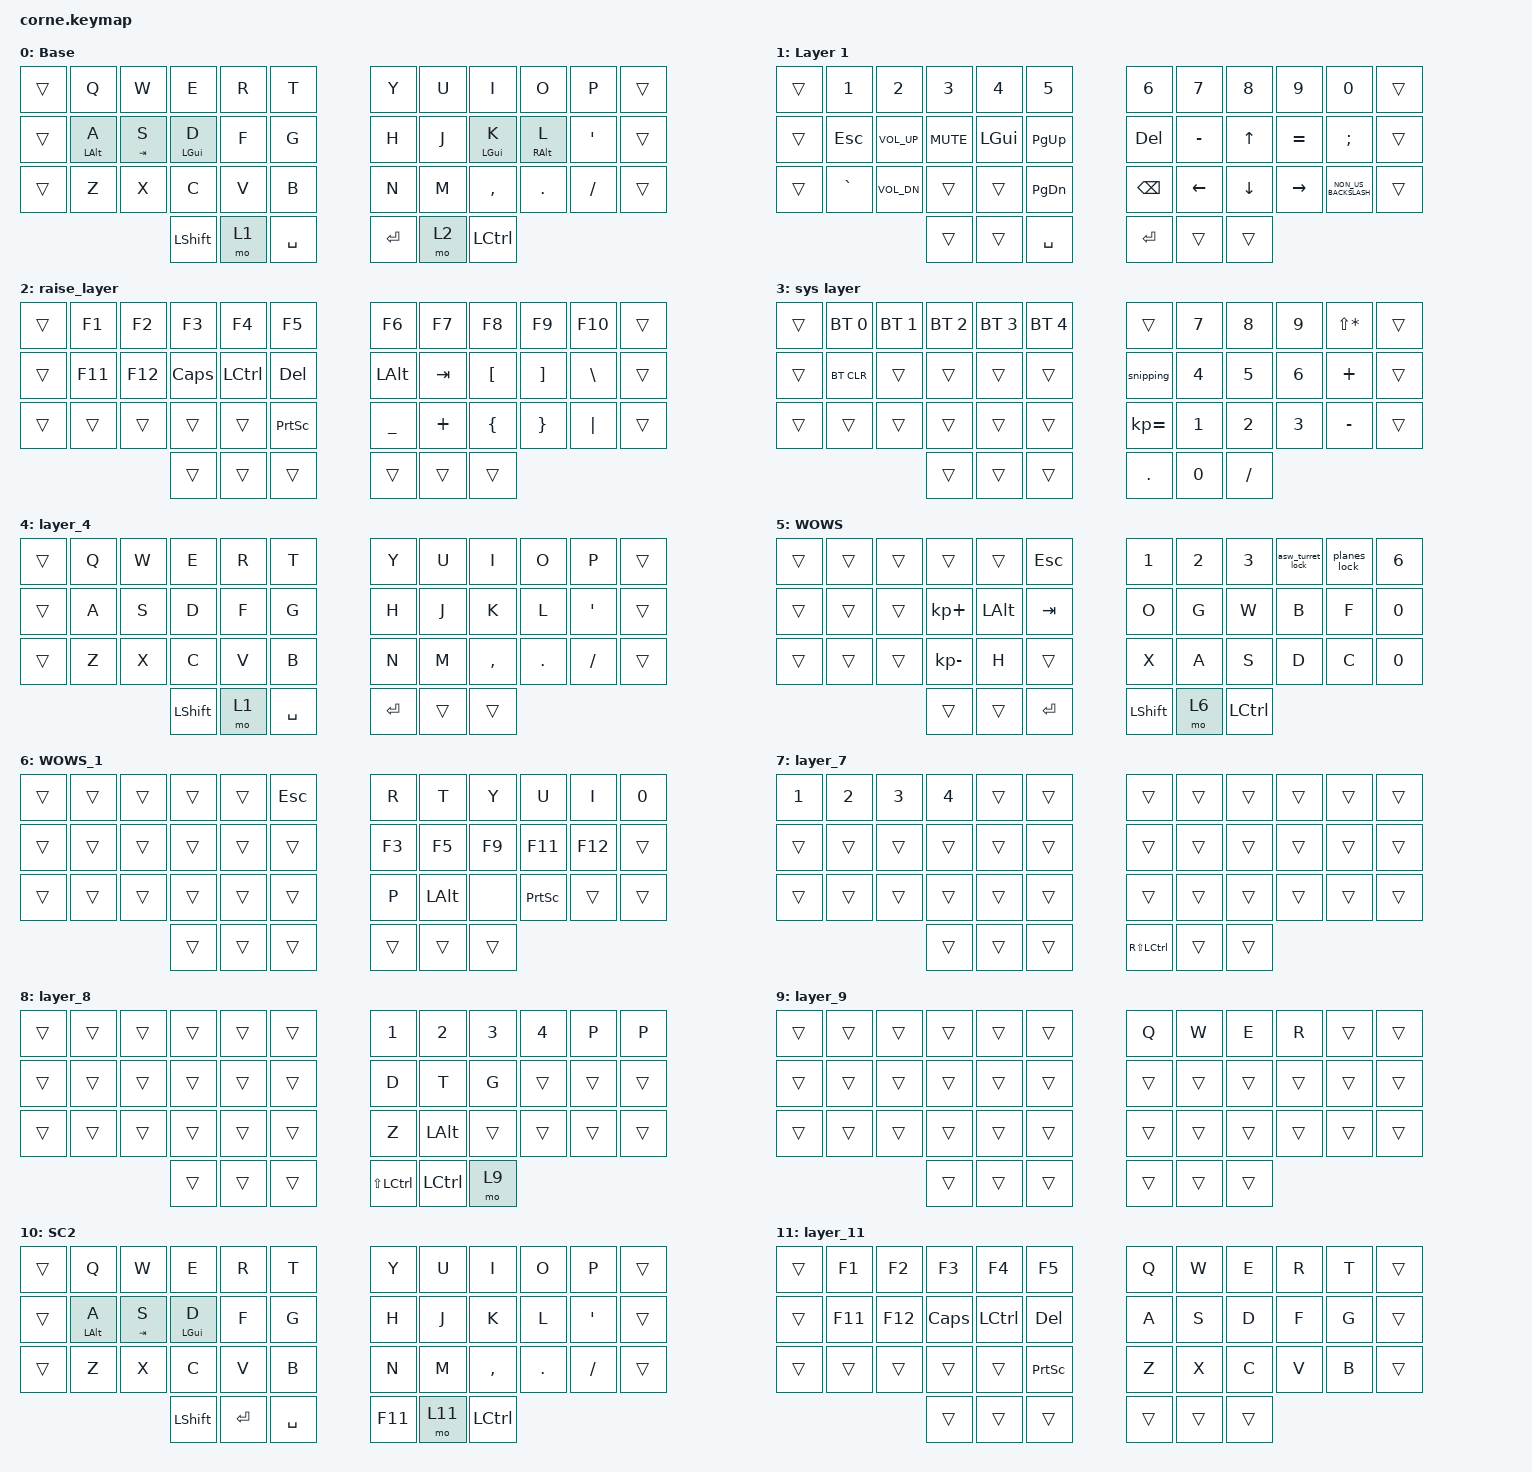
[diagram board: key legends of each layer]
/*
 * Copyright (c) 2020 The ZMK Contributors
 *
 * SPDX-License-Identifier: MIT
 */

#include <behaviors.dtsi>
#include <dt-bindings/zmk/bt.h>
#include <dt-bindings/zmk/keys.h>

/ {
    combos {
        compatible = "zmk,combos";

        jumpto0 {
            bindings = <&to 0>;
            key-positions = <29 25>;
        };

        nkey {
            bindings = <&kp N>;
            key-positions = <40 41>;
            layers = <5 6>;
        };

        layerjump {
            bindings = <&to 5>;
            key-positions = <30 34>;
        };

        btlayer {
            bindings = <&to 3>;
            key-positions = <1 13 25>;
        };

        new_combo {
            bindings = <&snipping>;
            key-positions = <7 9>;
            require-prior-idle-ms = <500>;
        };

        copy {
            bindings = <&copy>;
            key-positions = <30 31>;
            require-prior-idle-ms = <500>;
        };

        paste {
            bindings = <&paste>;
            key-positions = <31 33>;
            require-prior-idle-ms = <500>;
        };

        backspace {
            bindings = <&kp BACKSPACE>;
            key-positions = <18 19>;
            require-prior-idle-ms = <500>;
        };

        delete {
            bindings = <&kp DELETE>;
            key-positions = <6 7>;
            require-prior-idle-ms = <500>;
        };

        esc {
            bindings = <&kp ESCAPE>;
            key-positions = <10 22>;
            require-prior-idle-ms = <500>;
        };

        mute_google {
            bindings = <&cntr_D>;
            key-positions = <9 21 33>;
            require-prior-idle-ms = <500>;
        };

        redo {
            bindings = <&kp RC(Y)>;
            key-positions = <8 20>;
            require-prior-idle-ms = <500>;
        };

        chat_wows {
            bindings = <&layer4_enter>;
            key-positions = <36 37>;
            require-prior-idle-ms = <125>;
            layers = <5>;
        };

        task_man {
            bindings = <&kp LC(RS(ESCAPE))>;
            key-positions = <26 14 2>;
            require-prior-idle-ms = <500>;
        };

        undo {
            bindings = <&kp LC(Z)>;
            key-positions = <7 19>;
            require-prior-idle-ms = <500>;
        };

        back_from_chat {
            bindings = <&to 5>;
            key-positions = <40 41>;
            require-prior-idle-ms = <500>;
            layers = <4>;
        };

        win_right {
            bindings = <&kp LG(RIGHT)>;
            key-positions = <34 10>;
            require-prior-idle-ms = <500>;
        };

        win_left {
            bindings = <&kp LG(LEFT)>;
            key-positions = <33 9>;
            require-prior-idle-ms = <500>;
        };

        prnscrn_wows {
            bindings = <&kp PRINTSCREEN>;
            key-positions = <3 4>;
            require-prior-idle-ms = <500>;
            layers = <5>;
        };

        Maps {
            bindings = <&kp M>;
            key-positions = <10 22 34>;
            layers = <5 6>;
            require-prior-idle-ms = <5000>;
        };

        wows_streaming {
            bindings = <&kp LA(Z)>;
            key-positions = <3 15 27>;
            layers = <5>;
        };

        Right_alt {
            bindings = <&kp RIGHT_ALT>;
            key-positions = <40 41>;
            layers = <0 1 2 4>;
        };

        RA2 {
            bindings = <&to 8>;
            key-positions = <34 10 25 1>;
        };

        SC2 {
            bindings = <&to 10>;
            key-positions = <2 26 9 33>;
        };

        ShiftSC2 {
            bindings = <&kp LEFT_SHIFT>;
            key-positions = <40 41>;
            layers = <10 11>;
        };

        SC2_Alt {
            bindings = <&kp LEFT_ALT>;
            key-positions = <39 40>;
            layers = <10 11>;
        };
    };

    behaviors {
        hold_left: hold_left {
            compatible = "zmk,behavior-hold-tap";
            label = "HOLD_LEFT";
            bindings = <&kp>, <&kp>;

            #binding-cells = <2>;
            flavor = "balanced";
            tapping-term-ms = <280>;
            hold-trigger-on-release;
            quick-tap-ms = <500>;
            global-quick-tap;
            hold-trigger-key-positions = <6 7 8 9 10 11 18 19 20 21 22 23 30 31 32 33 34 35>;
        };

        hold_right: hold_right {
            compatible = "zmk,behavior-hold-tap";
            label = "HOLD_RIGHT";
            bindings = <&kp>, <&kp>;

            #binding-cells = <2>;
            tapping-term-ms = <280>;
            flavor = "balanced";
            hold-trigger-on-release;
            global-quick-tap;
            quick-tap-ms = <500>;
            hold-trigger-key-positions = <0 1 5 12 13 14 15 16 17 24 25 26 27 28 29 2 3 4>;
        };
    };

    macros {
        snipping: snipping {
            compatible = "zmk,behavior-macro";
            label = "SNIPPING";
            #binding-cells = <0>;
            bindings = <&kp RG(RS(S))>;
        };

        copy: copy {
            compatible = "zmk,behavior-macro";
            label = "COPY";
            #binding-cells = <0>;
            bindings = <&kp LC(C)>;
        };

        paste: paste {
            compatible = "zmk,behavior-macro";
            label = "PASTE";
            #binding-cells = <0>;
            bindings = <&kp LC(V)>;
        };

        cntr_D: cntr_D {
            compatible = "zmk,behavior-macro";
            label = "CNTR_D";
            #binding-cells = <0>;
            bindings = <&kp LC(D)>;
        };

        win_right: win_right {
            compatible = "zmk,behavior-macro";
            #binding-cells = <0>;
            bindings = <&kp RG(RIGHT)>;
            label = "WIN_RIGHT";
        };

        win_left: win_left {
            compatible = "zmk,behavior-macro";
            #binding-cells = <0>;
            bindings = <&none>;
            label = "WIN_LEFT";
        };

        layer4_enter: layer4_enter {
            compatible = "zmk,behavior-macro";
            #binding-cells = <0>;
            bindings = <&to 4 &kp ENTER>;
            label = "LAYER4_ENTER";
        };

        asw_turret_lock: asw_turret_lock {
            compatible = "zmk,behavior-macro";
            #binding-cells = <0>;
            bindings = <&kp NUMBER_4 &kp RC(X)>;
            label = "ASW_TURRET_LOCK";
        };

        planes_lock: planes_lock {
            compatible = "zmk,behavior-macro";
            #binding-cells = <0>;
            bindings = <&kp N5 &kp RC(X)>;
            label = "PLANES_LOCK";
        };
    };

    keymap {
        compatible = "zmk,keymap";

        default_layer {
            // -----------------------------------------------------------------------------------------
            // |  TAB |  Q  |  W  |  E  |  R  |  T  |   |  Y  |  U   |  I  |  O  |  P  | BKSP |
            // | CTRL |  A  |  S  |  D  |  F  |  G  |   |  H  |  J   |  K  |  L  |  ;  |  '   |
            // | SHFT |  Z  |  X  |  C  |  V  |  B  |   |  N  |  M   |  ,  |  .  |  /  | ESC  |
            //                    | GUI | LWR | SPC |   | ENT | RSE  | ALT |

            bindings = <
&trans  &kp Q                  &kp W             &kp E                  &kp R  &kp T        &kp Y    &kp U  &kp I                   &kp O                    &kp P     &trans
&trans  &hold_left LEFT_ALT A  &hold_left TAB S  &hold_left LEFT_GUI D  &kp F  &kp G        &kp H    &kp J  &hold_right LEFT_GUI K  &hold_right RIGHT_ALT L  &kp SQT   &trans
&trans  &kp Z                  &kp X             &kp C                  &kp V  &kp B        &kp N    &kp M  &kp COMMA               &kp DOT                  &kp FSLH  &trans
                                                 &kp LEFT_SHIFT         &mo 1  &kp SPACE    &kp RET  &mo 2  &kp LEFT_CONTROL
            >;

            label = "Base";
        };

        lower_layer {
            // -----------------------------------------------------------------------------------------
            // |  TAB |  1  |  2  |  3  |  4  |  5  |   |  6  |  7  |  8  |  9  |  0  | BKSP |
            // | BTCLR| BT1 | BT2 | BT3 | BT4 | BT5 |   | LFT | DWN |  UP | RGT |     |      |
            // | SHFT |     |     |     |     |     |   |     |     |     |     |     |      |
            //                    | GUI |     | SPC |   | ENT |     | ALT |

            bindings = <
&trans  &kp N1     &kp N2           &kp N3      &kp N4    &kp N5       &kp N6         &kp N7     &kp N8    &kp N9     &kp N0                &trans
&trans  &kp ESC    &kp C_VOLUME_UP  &kp C_MUTE  &kp LGUI  &kp PG_UP    &kp DELETE     &kp MINUS  &kp UP    &kp EQUAL  &kp SEMICOLON         &trans
&trans  &kp GRAVE  &kp C_VOL_DN     &trans      &trans    &kp PG_DN    &kp BACKSPACE  &kp LEFT   &kp DOWN  &kp RIGHT  &kp NON_US_BACKSLASH  &trans
                                    &trans      &trans    &kp SPACE    &kp RET        &trans     &trans
            >;

            label = "Layer 1";
        };

        raise_layer {
            // -----------------------------------------------------------------------------------------
            // |  TAB |  !  |  @  |  #  |  $  |  %  |   |  ^  |  &  |  *  |  (  |  )  | BKSP |
            // | CTRL |     |     |     |     |     |   |  -  |  =  |  [  |  ]  |  \  |  `   |
            // | SHFT |     |     |     |     |     |   |  _  |  +  |  {  |  }  | "|" |  ~   |
            //                    | GUI |     | SPC |   | ENT |     | ALT |

            bindings = <
&trans  &kp F1   &kp F2   &kp F3        &kp F4     &kp F5             &kp F6     &kp F7    &kp F8    &kp F9    &kp F10   &trans
&trans  &kp F11  &kp F12  &kp CAPSLOCK  &kp LCTRL  &kp DEL            &kp LALT   &kp TAB   &kp LBKT  &kp RBKT  &kp BSLH  &trans
&trans  &trans   &trans   &trans        &trans     &kp PRINTSCREEN    &kp UNDER  &kp PLUS  &kp LBRC  &kp RBRC  &kp PIPE  &trans
                          &trans        &trans     &trans             &trans     &trans    &trans
            >;
        };

        layer_3 {
            bindings = <
&trans  &bt BT_SEL 0  &bt BT_SEL 1  &bt BT_SEL 2  &bt BT_SEL 3  &bt BT_SEL 4    &trans        &kp N7  &kp N8    &kp N9  &kp LS(ASTERISK)  &trans
&trans  &bt BT_CLR    &trans        &trans        &trans        &trans          &snipping     &kp N4  &kp N5    &kp N6  &kp PLUS          &trans
&trans  &trans        &trans        &trans        &trans        &trans          &kp KP_EQUAL  &kp N1  &kp N2    &kp N3  &kp MINUS         &trans
                                    &trans        &trans        &trans          &kp PERIOD    &kp N0  &kp FSLH
            >;

            label = "sys layer";
        };

        layer_4 {
            bindings = <
&trans  &kp Q  &kp W  &kp E      &kp R  &kp T        &kp Y    &kp U   &kp I      &kp O    &kp P      &trans
&trans  &kp A  &kp S  &kp D      &kp F  &kp G        &kp H    &kp J   &kp K      &kp L    &kp SQT    &trans
&trans  &kp Z  &kp X  &kp C      &kp V  &kp B        &kp N    &kp M   &kp COMMA  &kp DOT  &kp SLASH  &trans
                      &kp LSHFT  &mo 1  &kp SPACE    &kp RET  &trans  &trans
            >;
        };

        layer_5 {
            bindings = <
&trans  &trans  &trans  &trans        &trans        &kp ESCAPE    &kp NUMBER_1  &kp NUMBER_2  &kp NUMBER_3      &asw_turret_lock  &planes_lock  &kp NUMBER_6
&trans  &trans  &trans  &kp KP_PLUS   &kp LEFT_ALT  &kp TAB       &kp O         &kp G         &kp W             &kp B             &kp F         &kp 0
&trans  &trans  &trans  &kp KP_MINUS  &kp H         &trans        &kp X         &kp A         &kp S             &kp D             &kp C         &kp 0
                        &trans        &trans        &kp ENTER     &kp LSHIFT    &mo 6         &kp LEFT_CONTROL
            >;

            label = "WOWS";
        };

        layer_6 {
            bindings = <
&trans  &trans  &trans  &trans  &trans  &kp ESC    &kp R   &kp T     &kp Y   &kp U            &kp I    &kp 0
&trans  &trans  &trans  &trans  &trans  &trans     &kp F3  &kp F5    &kp F9  &kp F11          &kp F12  &trans
&trans  &trans  &trans  &trans  &trans  &trans     &kp P   &kp LALT  &none   &kp PRINTSCREEN  &trans   &trans
                        &trans  &trans  &trans     &trans  &trans    &trans
            >;

            label = "WOWS_1";
        };

        layer_7 {
            bindings = <
&kp N1  &kp N2  &kp N3  &kp N4  &trans  &trans    &trans                &trans  &trans  &trans  &trans  &trans
&trans  &trans  &trans  &trans  &trans  &trans    &trans                &trans  &trans  &trans  &trans  &trans
&trans  &trans  &trans  &trans  &trans  &trans    &trans                &trans  &trans  &trans  &trans  &trans
                        &trans  &trans  &trans    &kp RS(LEFT_CONTROL)  &trans  &trans
            >;
        };

        layer_8 {
            bindings = <
&trans  &trans  &trans  &trans  &trans  &trans    &kp NUMBER_1   &kp NUMBER_2  &kp NUMBER_3  &kp N4  &kp P   &kp P
&trans  &trans  &trans  &trans  &trans  &trans    &kp D          &kp T         &kp G         &trans  &trans  &trans
&trans  &trans  &trans  &trans  &trans  &trans    &kp Z          &kp LEFT_ALT  &trans        &trans  &trans  &trans
                        &trans  &trans  &trans    &kp LS(LCTRL)  &kp LCTRL     &mo 9
            >;
        };

        layer_9 {
            bindings = <
&trans  &trans  &trans  &trans  &trans  &trans    &kp Q   &kp W   &kp E   &kp R   &trans  &trans
&trans  &trans  &trans  &trans  &trans  &trans    &trans  &trans  &trans  &trans  &trans  &trans
&trans  &trans  &trans  &trans  &trans  &trans    &trans  &trans  &trans  &trans  &trans  &trans
                        &trans  &trans  &trans    &trans  &trans  &trans
            >;
        };

        layer_10 {
            label = "SC2";
            bindings = <
&trans  &kp Q                  &kp W             &kp E                  &kp R      &kp T        &kp Y    &kp U   &kp I             &kp O    &kp P     &trans
&trans  &hold_left LEFT_ALT A  &hold_left TAB S  &hold_left LEFT_GUI D  &kp F      &kp G        &kp H    &kp J   &kp K             &kp L    &kp SQT   &trans
&trans  &kp Z                  &kp X             &kp C                  &kp V      &kp B        &kp N    &kp M   &kp COMMA         &kp DOT  &kp FSLH  &trans
                                                 &kp LEFT_SHIFT         &kp ENTER  &kp SPACE    &kp F11  &mo 11  &kp LEFT_CONTROL
            >;
        };

        layer_11 {
            bindings = <
&trans  &kp F1   &kp F2   &kp F3        &kp F4     &kp F5             &kp Q   &kp W   &kp E   &kp R  &kp T  &trans
&trans  &kp F11  &kp F12  &kp CAPSLOCK  &kp LCTRL  &kp DEL            &kp A   &kp S   &kp D   &kp F  &kp G  &trans
&trans  &trans   &trans   &trans        &trans     &kp PRINTSCREEN    &kp Z   &kp X   &kp C   &kp V  &kp B  &trans
                          &trans        &trans     &trans             &trans  &trans  &trans
            >;
        };
    };
};
